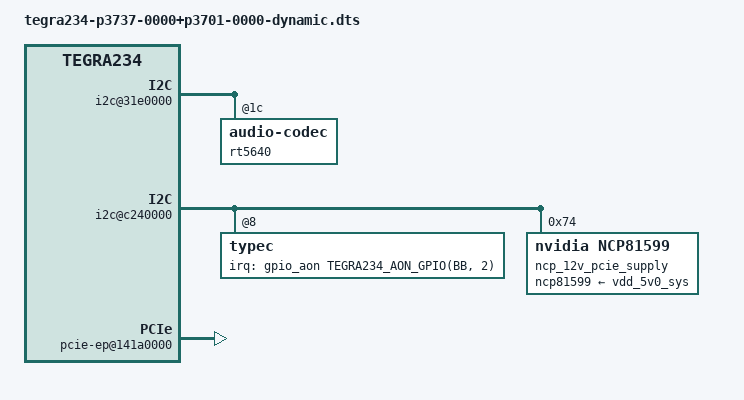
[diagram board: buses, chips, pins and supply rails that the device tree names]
// SPDX-License-Identifier: GPL-2.0-only
// SPDX-FileCopyrightText: Copyright (c) 2023-2024, NVIDIA CORPORATION & AFFILIATES.  All rights reserved.

/dts-v1/;
/plugin/;

#include <dt-bindings/gpio/tegra234-gpio.h>
#include <dt-bindings/interrupt-controller/irq.h>
#include "tegra234-p3737-camera-modules.dtsi"

/ {
	overlay-name = "Tegra234 p3737-0000+p3701-xxxx Dynamic Overlay";

	fragment-t234-p3737-0000-p3701-0000@0 {
		target-path = "/";
		board_config {
			ids = ">=3737-0000-TS4", ">=3737-0000-RC1", ">=3737-0000-300";
		};
		__overlay__ {
			bus@0 {
				i2c@31e0000 {
					rt5640: audio-codec@1c {
						#sound-dai-cells = <1>;
						status = "okay";
					};
				};
			};

			sound {
				nvidia-audio-card,widgets =
					"Headphone",	"CVB-RT Headphone Jack",
					"Microphone",	"CVB-RT Mic Jack",
					"Speaker",	"CVB-RT Int Spk",
					"Microphone",	"CVB-RT Int Mic";

				nvidia-audio-card,routing =
					"CVB-RT Headphone Jack",     "CVB-RT HPOL",
					"CVB-RT Headphone Jack",     "CVB-RT HPOR",
					"CVB-RT IN1P",		     "CVB-RT Mic Jack",
					"CVB-RT IN2P",		     "CVB-RT Mic Jack",
					"CVB-RT Int Spk",	     "CVB-RT SPOLP",
					"CVB-RT Int Spk",	     "CVB-RT SPORP",
					"CVB-RT DMIC1",		     "CVB-RT Int Mic",
					"CVB-RT DMIC2",		     "CVB-RT Int Mic";

				nvidia-audio-card,dai-link@76 {
					link-name = "rt5640-playback";
					codec {
						sound-dai = <&rt5640 0>;
						prefix = "CVB-RT";
					};
				};
			};
		};
	};

	fragment-t234-p3737-0000-p3701-0000@1 {
		target-path = "/";
		board_config {
			ids = "3737-0000-TS1","3737-0000-TS2","3737-0000-TS3","3737-0000-EB1","3737-0000-EB2","3737-0000-EB3","3737-0000-000","3737-0000-100","3737-0000-200";
		};
		__overlay__ {
			bus@0{
				i2c@c240000 {
					typec@8 {
						interrupt-parent = <&gpio_aon>;
						interrupts = <TEGRA234_AON_GPIO(BB, 2) IRQ_TYPE_LEVEL_LOW>;
					};
				};
				 pcie-ep@141a0000 {
						nvidia,refclk-select-gpios = <&gpio_aon
										TEGRA234_AON_GPIO(AA, 4)
										GPIO_ACTIVE_HIGH>;
				};
			};
			regulator-vdd-3v3-pcie {
				gpio = <&gpio TEGRA234_MAIN_GPIO(Z, 2) GPIO_ACTIVE_HIGH>;
			};
		};
	};

	/* PCIe 12V supply through NCP for TS3 */
 	fragment-t234-p3737-0000-p3701-0000@2 {
 		target-path = "/";
 		board_config {
 			ids = "3737-0000-TS3","3737-0000-200","3737-0000-300","3737-0000-EB3";
 		};
 		 __overlay__ {
			bus@0{
				i2c@c240000 {
					ncp_12v_pcie_supply: ncp81599@74 {
						compatible = "nvidia,ncp81599";
						reg = <0x74>;
						regulator-name = "ncp81599";
						ncp81599-supply = <&vdd_5v0_sys>;
						status = "okay";
					};
				};
				pcie@141a0000 {
					vpcie12v-supply = <&ncp_12v_pcie_supply>;
				};
				pcie-ep@141a0000 {
					vpcie12v-supply = <&ncp_12v_pcie_supply>;
				};
			};
 		};
 	};

	/* PCIe C5 endpoint */
	fragment-t234-p3737-0000-p3701-0000-pcie-c5-ep@0 {
		target-path = "/bus@0";
		board_config {
			odm-data = "nvhs-uphy-config-1";
		};
		__overlay__ {
			pcie@141a0000 {
				status = "disabled";
			};
			pcie-ep@141a0000 {
				status = "okay";
			};
		};
	};
};
